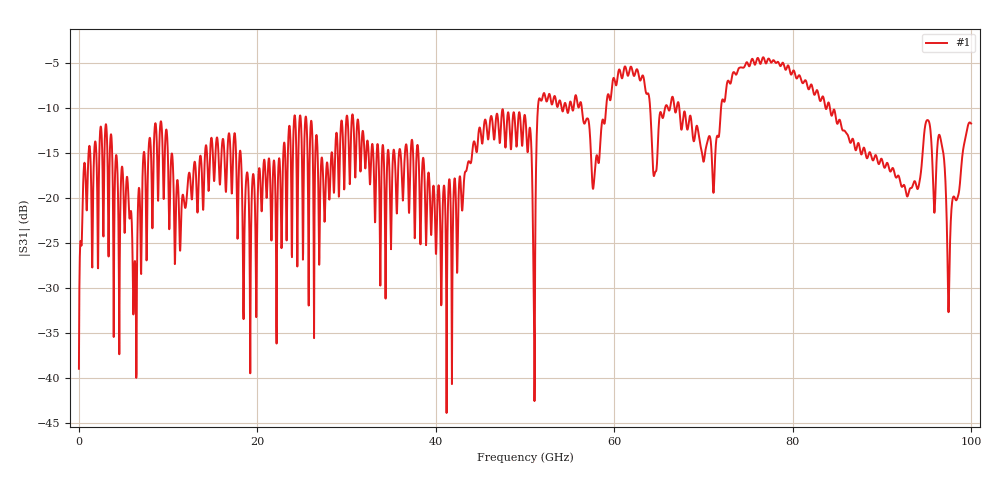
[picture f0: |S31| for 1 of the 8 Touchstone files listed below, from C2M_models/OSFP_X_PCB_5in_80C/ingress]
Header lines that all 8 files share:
# GHz S RI R 45
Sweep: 25 MHz to 100 GHz
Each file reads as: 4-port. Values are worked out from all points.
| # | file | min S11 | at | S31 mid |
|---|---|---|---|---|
| 1 | C2M_X_OSFP224_5in_host_PCB_80C_FEXT_TP4a_Rx1_to_TP5_Rx8.s4p | -40.1 dB | 27.05 GHz | -10.9 dB at 50.02 GHz |
| 2 | C2M_X_OSFP224_5in_host_PCB_80C_FEXT_TP4a_Rx2_to_TP5_Rx8.s4p | -40.1 dB | 27.05 GHz | -10.9 dB at 50.02 GHz |
| 3 | C2M_X_OSFP224_5in_host_PCB_80C_FEXT_TP4a_Rx3_to_TP5_Rx8.s4p | -40.1 dB | 27.05 GHz | -10.9 dB at 50.02 GHz |
| 4 | C2M_X_OSFP224_5in_host_PCB_80C_FEXT_TP4a_Rx4_to_TP5_Rx8.s4p | -40.1 dB | 27.05 GHz | -10.9 dB at 50.02 GHz |
| 5 | C2M_X_OSFP224_5in_host_PCB_80C_FEXT_TP4a_Rx5_to_TP5_Rx8.s4p | -40.1 dB | 27.05 GHz | -10.9 dB at 50.02 GHz |
| 6 | C2M_X_OSFP224_5in_host_PCB_80C_FEXT_TP4a_Rx6_to_TP5_Rx8.s4p | -40.1 dB | 27.05 GHz | -10.9 dB at 50.02 GHz |
| 7 | C2M_X_OSFP224_5in_host_PCB_80C_FEXT_TP4a_Rx7_to_TP5_Rx8.s4p | -40.1 dB | 27.05 GHz | -10.9 dB at 50.02 GHz |
| 8 | C2M_X_OSFP224_5in_host_PCB_80C_NEXT_TP5_Tx1_to_TP5_Rx8.s4p | -40.1 dB | 27.05 GHz | -10.9 dB at 50.02 GHz |
